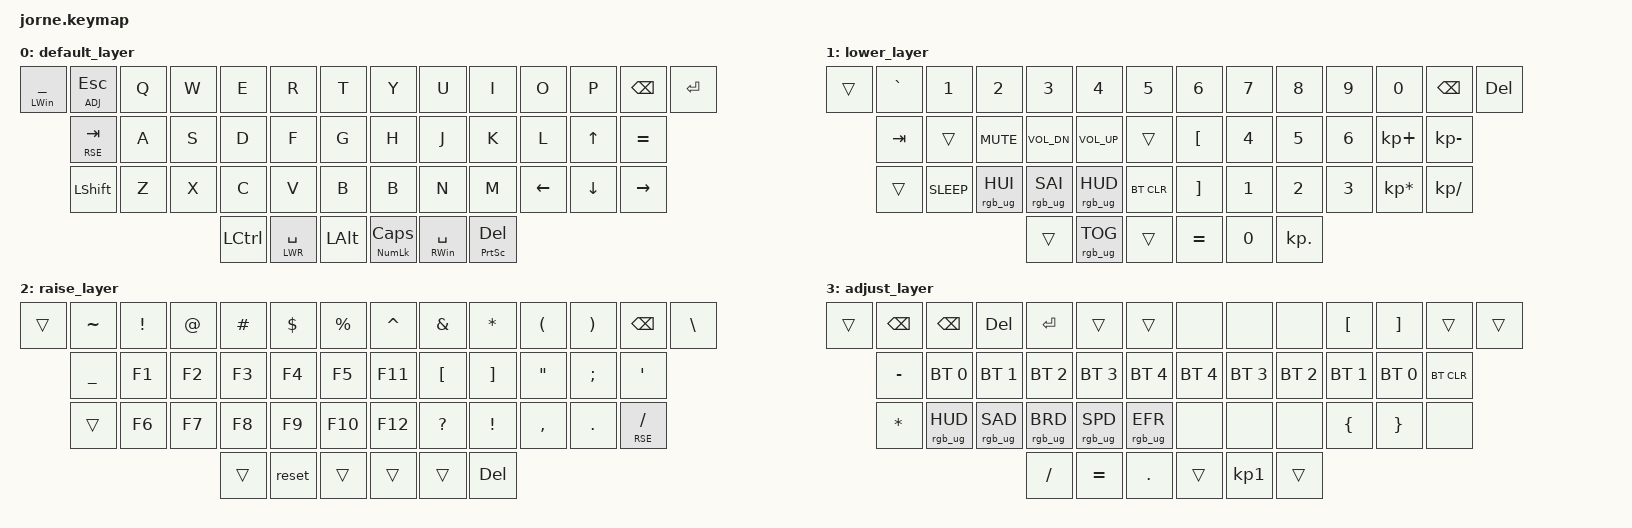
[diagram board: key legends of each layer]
/*
 * Copyright (c) 2020 The ZMK Contributors
 *
 * SPDX-License-Identifier: MIT
 */
#include <dt-bindings/led/led.h>
#include <behaviors.dtsi>
#include <dt-bindings/zmk/keys.h>
#include <dt-bindings/zmk/bt.h>
#include <dt-bindings/zmk/outputs.h>
#include <dt-bindings/zmk/rgb.h>

#define DEF 0
#define LWR 1
#define RSE 2
#define ADJ 3

&spi1 {
	compatible = "nordic,nrf-spim";
	/* Cannot be used together with i2c0. */
	status = "okay";
	mosi-pin = <6>;
	// Unused pins, needed for SPI definition, but not used by the ws2812 driver itself.
	sck-pin = <5>;
	miso-pin = <7>;

	led_strip: ws2812@0 {
		compatible = "worldsemi,ws2812-spi";
		label = "WS2812";

		/* SPI */
		reg = <0>; /* ignored, but necessary for SPI bindings */
		spi-max-frequency = <4000000>;

		/* WS2812 */
		chain-length = <6>; /* There are per-key RGB, but the first 6 are underglow */
		spi-one-frame = <0x70>;
		spi-zero-frame = <0x40>;
		color-mapping = <LED_COLOR_ID_GREEN LED_COLOR_ID_RED LED_COLOR_ID_BLUE>;
	};
};

/ {
    chosen {
		zmk,underglow = &led_strip;
	};

        keymap {
                compatible = "zmk,keymap";

                default_layer {
// -----------------------------------------------------------------------------------------
// |  GUI |   &lt RSE ESC  |  Q  |  W  |  E  |  R  |  T  |   |  Y  |  U   |  I  |  O  |  P  |  [   | GUI/] |
//        |  &lt DEF GUI |  A  |  S  |  D  |  F  |  G  |   |  H  |  J   |  K  |  L  |  ;  |CTRL/'|
//        | LALT |  Z  |  X  |  C  |  V  |  B  |   |  N  |  M   |  ,  |  .  |  /  | RALT |
//                           | RSE | SPC | &lt LWR SPACE |   | LWR | BKSP | RSE |
                        bindings = <
   &mt LWIN UNDER  &lt ADJ ESC  &kp Q  &kp W &kp E     &kp R          &kp T               &kp Y        &kp U          &kp I   &kp O     &kp P     &kp BACKSPACE  &kp ENTER
                   &lt RSE TAB  &kp A  &kp S &kp D     &kp F          &kp G               &kp H        &kp J          &kp K   &kp L     &kp UP  &kp EQUAL    
                   &kp LSHFT    &kp Z  &kp X &kp C     &kp V          &kp B               &kp B        &kp N          &kp M   &kp LEFT &kp DOWN   &kp RIGHT
                                             &kp LCTRL &lt LWR SPACE  &kp LALT            &mt KP_NUM CAPS &mt RWIN SPACE &mt PSCRN DEL
                        >;
                };
                lower_layer {
// -----------------------------------------------------------------------------------------
// |     |  _  |  F1 |  F2 |  F3 |  F4 |  F5 |   |  F6 |  F7 |  F8 |  F9 | F10 | F11 | F12 |
//       |  +  |  !  |  @  |  #  |  $  |  %  |   |  ^  |  &  |  *  |  (  |  )  |  -  |
//       |  =  |  1  |  2  |  3  |  4  |  5  |   |  6  |  7  |  8  |  9  |  0  |     |
//                    | GUI |     | SPC |   | ENT |     | ALT |
                        bindings = <
   &trans  &kp GRAVE  &kp N1       &kp N2           &kp N3           &kp N4           &kp N5                  &kp N6     &kp N7  &kp N8     &kp N9    &kp N0             &kp BACKSPACE    &kp DEL
           &kp TAB    &trans  	   &kp C_MUTE       &kp C_VOL_DN     &kp C_VOL_UP     &trans	              &kp LBKT   &kp N4  &kp N5     &kp N6    &kp KP_PLUS        &kp KP_MINUS
           &trans     &kp C_SLEEP  &rgb_ug RGB_HUI  &rgb_ug RGB_SAI  &rgb_ug RGB_HUD  &bt BT_CLR              &kp RBKT   &kp N1  &kp N2     &kp N3    &kp KP_MULTIPLY    &kp KP_DIVIDE
                                                    &trans           &rgb_ug RGB_TOG  &trans                  &kp EQUAL  &kp N0  &kp KP_DOT
                        >;
                };

                raise_layer {
// -----------------------------------------------------------------------------------------
// |     | NMLK |  /  |  7  |  8  |  9  |  -  |   | VOLU| HOME| PRSC| PGUP| SCLK| CLCK|     |
//       | CTRL |  *  |  4  |  5  |  6  |  +  |   | MUT | LEFT|  UP | RGHT| INS | APP |
//       |      |  0  |  1  |  2  |  3  |  .  |   | VOLD| END | DOWN| PGDN| PAUS|     |
//                          |     |     | ADJ |   | ADJ |     |     |
                        bindings = <
   &trans  &kp TILDE  &kp EXCL &kp AT &kp HASH &kp DLLR  &kp PRCNT              &kp CARET  &kp AMPS     &kp STAR    &kp LPAR    &kp RPAR    &kp BACKSPACE        &kp BSLH
           &kp UNDER  &kp F1   &kp F2   &kp F3   &kp F4    &kp F5               &kp F11    &kp LBKT     &kp RBKT    &kp DQT     &kp SEMI    &kp APOS
           &trans     &kp F6   &kp F7   &kp F8   &kp F9    &kp F10              &kp F12    &kp QMARK    &kp EXCL  &kp COMMA   &kp DOT     &lt RSE FSLH 
                                      &trans   &reset    &trans                 &trans     &trans       &kp DEL
                        >;
                };
                adjust_layer {
// -----------------------------------------------------------------------------------------
// | RST | BLDR | HI  | SI  | BI  | PI  | EF  |   |     |     |     |     |     | BLDR | RST | 
//       | BTCLR| BT0 | BT1 | BT2 | BT3 | BT4 |   | BT4 | BT3 | BT2 | BT1 | BT0 | BTCLR|
//       |      | HD  | SD  | BD  | PD  | ER  |   |     |     |     |     |     |      |
//                          |     | RGB |     |   |     | OUT |     |
                        bindings = <
   &trans &kp BACKSPACE  &kp BACKSPACE   &kp DEL         &kp ENTER       &trans          &trans                    &none         &none         &none         &kp LBKT     &kp RBKT      &trans      &trans
          &kp MINUS      &bt BT_SEL 0    &bt BT_SEL 1    &bt BT_SEL 2    &bt BT_SEL 3    &bt BT_SEL 4              &bt BT_SEL 4  &bt BT_SEL 3  &bt BT_SEL 2  &bt BT_SEL 1 &bt BT_SEL 0  &bt BT_CLR
          &kp STAR       &rgb_ug RGB_HUD &rgb_ug RGB_SAD &rgb_ug RGB_BRD &rgb_ug RGB_SPD &rgb_ug RGB_EFR           &none         &none         &none         &kp LBRC     &kp RBRC      &none
                                                         &kp FSLH        &kp EQUAL       &kp DOT                   &trans        &kp KP_N1        &trans 
                        >;
                };
        };
};
